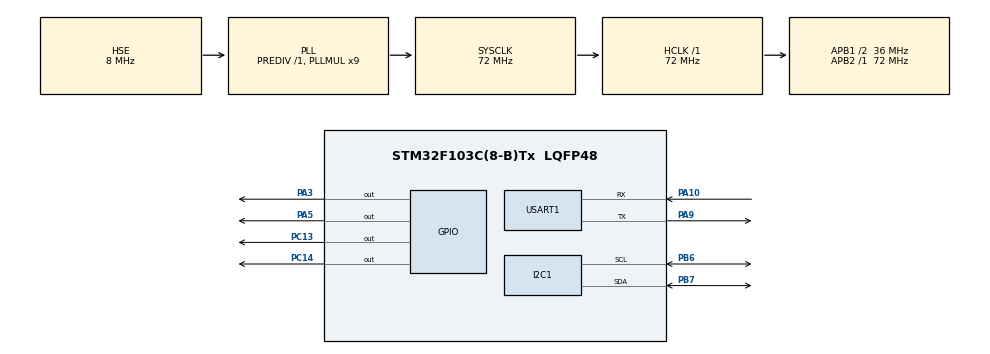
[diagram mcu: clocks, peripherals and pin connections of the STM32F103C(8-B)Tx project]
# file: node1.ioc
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Dma.Request0=USART1_RX
Dma.USART1_RX.0.Direction=DMA_PERIPH_TO_MEMORY
Dma.USART1_RX.0.Instance=DMA1_Channel5
Dma.USART1_RX.0.MemDataAlignment=DMA_MDATAALIGN_BYTE
Dma.USART1_RX.0.MemInc=DMA_MINC_ENABLE
Dma.USART1_RX.0.Mode=DMA_NORMAL
Dma.USART1_RX.0.PeriphDataAlignment=DMA_PDATAALIGN_BYTE
Dma.USART1_RX.0.PeriphInc=DMA_PINC_DISABLE
Dma.USART1_RX.0.Priority=DMA_PRIORITY_LOW
Mcu.Family=STM32F1
Mcu.Name=STM32F103C(8-B)Tx
Mcu.Package=LQFP48
NVIC.DMA1_Channel5_IRQn=true\:0\:0\:false\:false\:true\:false\:true\:true
NVIC.PriorityGroup=NVIC_PRIORITYGROUP_4
NVIC.USART1_IRQn=true\:0\:0\:false\:false\:true\:true\:true\:true
PA10.Mode=Asynchronous
PA10.Signal=USART1_RX
PA13.Mode=Serial_Wire
PA13.Signal=SYS_JTMS-SWDIO
PA14.Mode=Serial_Wire
PA14.Signal=SYS_JTCK-SWCLK
PA3.PinState=GPIO_PIN_SET
PA3.Signal=GPIO_Output
PA5.PinState=GPIO_PIN_SET
PA5.Signal=GPIO_Output
PA9.Mode=Asynchronous
PA9.Signal=USART1_TX
PB6.Mode=I2C
PB6.Signal=I2C1_SCL
PB7.Mode=I2C
PB7.Signal=I2C1_SDA
PC13-TAMPER-RTC.PinState=GPIO_PIN_SET
PC13-TAMPER-RTC.Signal=GPIO_Output
PC14-OSC32_IN.PinState=GPIO_PIN_SET
PC14-OSC32_IN.Signal=GPIO_Output
PD0-OSC_IN.Mode=HSE-External-Oscillator
PD0-OSC_IN.Signal=RCC_OSC_IN
PD1-OSC_OUT.Mode=HSE-External-Oscillator
PD1-OSC_OUT.Signal=RCC_OSC_OUT
ProjectManager.HeapSize=0x200
ProjectManager.StackSize=0x400
ProjectManager.TargetToolchain=STM32CubeIDE
RCC.AHBFreq_Value=72000000
RCC.APB1CLKDivider=RCC_HCLK_DIV2
RCC.APB1Freq_Value=36000000
RCC.APB1TimFreq_Value=72000000
RCC.APB2Freq_Value=72000000
RCC.APB2TimFreq_Value=72000000
RCC.HCLKFreq_Value=72000000
RCC.PLLMUL=RCC_PLL_MUL9
RCC.PLLSourceVirtual=RCC_PLLSOURCE_HSE
RCC.SYSCLKFreq_VALUE=72000000
RCC.SYSCLKSource=RCC_SYSCLKSOURCE_PLLCLK
RCC.USBFreq_Value=72000000
TIM4.Prescaler=71
USART1.VirtualMode=VM_ASYNC
VP_TIM4_VS_ClockSourceINT.Mode=Internal
board=custom

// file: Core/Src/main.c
/* USER CODE BEGIN Header */
/**
 ******************************************************************************
 * @file           : main.c
 * @brief          : Main program body
 ******************************************************************************
 * @attention
 *
 * Copyright (c) 2026 STMicroelectronics.
 * All rights reserved.
 *
 * This software is licensed under terms that can be found in the LICENSE file
 * in the root directory of this software component.
 * If no LICENSE file comes with this software, it is provided AS-IS.
 *
 ******************************************************************************
 */
/* USER CODE END Header */
#include "main.h"

/* USER CODE BEGIN Includes */
#include "stdio.h"
#include "string.h"
#include "stdbool.h"
#include "dht11.h"
#include "bh1750.h"
/* USER CODE END Includes */

/* USER CODE BEGIN PTD */
#define RX_BUF_SIZE 64
#define NODE_ID "NODE1"   // đổi NODE2 cho board còn lại

#define LED1_PORT GPIOA
#define LED1_PIN GPIO_PIN_3

#define LED2_PORT GPIOA
#define LED2_PIN GPIO_PIN_5

#define FAN1_PORT GPIOC
#define FAN1_PIN  GPIO_PIN_13

#define FAN2_PORT GPIOC
#define FAN2_PIN  GPIO_PIN_14

#define TEMP_ON  30.0
#define TEMP_OFF 26.0

uint8_t rx_buf[RX_BUF_SIZE];
uint8_t rx_char;

volatile uint16_t rx_len = 0;
volatile uint8_t rx_flag = 0;

BH1750_HandleTypeDef bh1, bh2;
DHT11_HandleTypeDef dht1, dht2;

float temp1, hum1, lux1;
float temp2, hum2, lux2;

/* USER CODE END PTD */

I2C_HandleTypeDef hi2c1;

TIM_HandleTypeDef htim4;

UART_HandleTypeDef huart1;
DMA_HandleTypeDef hdma_usart1_rx;

void SystemClock_Config(void);
static void MX_GPIO_Init(void);
static void MX_DMA_Init(void);
static void MX_USART1_UART_Init(void);
static void MX_I2C1_Init(void);
static void MX_TIM4_Init(void);
/* USER CODE BEGIN PFP */
void UART_Start_DMA(void);
void Send_Data(void);
void Process_Data(void);

void Send_Data(void) {
	char msg[100];

	// ================= ROOM 1 =================
	if (DHT11_Read(&dht1, &temp1, &hum1) != HAL_OK) {
		sprintf(msg, "%s:1:DHT_ERROR\r\n", NODE_ID);
		HAL_UART_Transmit(&huart1, (uint8_t*) msg, strlen(msg), 100);
	} else {
		sprintf(msg, "%s:1:TEMP:%.1f\r\n", NODE_ID, temp1);
		HAL_UART_Transmit(&huart1, (uint8_t*) msg, strlen(msg), 100);

		sprintf(msg, "%s:1:HUMID:%.1f\r\n", NODE_ID, hum1);
		HAL_UART_Transmit(&huart1, (uint8_t*) msg, strlen(msg), 100);
	}

	if (BH1750_ReadLux(&bh1, &lux1) != HAL_OK) {
		sprintf(msg, "%s:1:BH1750_ERROR\r\n", NODE_ID);
		HAL_UART_Transmit(&huart1, (uint8_t*) msg, strlen(msg), 100);
	} else {
		sprintf(msg, "%s:1:LUX:%.1f\r\n", NODE_ID, lux1);
		HAL_UART_Transmit(&huart1, (uint8_t*) msg, strlen(msg), 100);
	}

	// ================= ROOM 2 =================
	if (DHT11_Read(&dht2, &temp2, &hum2) != HAL_OK) {
		sprintf(msg, "%s:2:DHT_ERROR\r\n", NODE_ID);
		HAL_UART_Transmit(&huart1, (uint8_t*) msg, strlen(msg), 100);
	} else {
		sprintf(msg, "%s:2:TEMP:%.1f\r\n", NODE_ID, temp2);
		HAL_UART_Transmit(&huart1, (uint8_t*) msg, strlen(msg), 100);

		sprintf(msg, "%s:2:HUMID:%.1f\r\n", NODE_ID, hum2);
		HAL_UART_Transmit(&huart1, (uint8_t*) msg, strlen(msg), 100);
	}

	if (BH1750_ReadLux(&bh2, &lux2) != HAL_OK) {
		sprintf(msg, "%s:2:BH1750_ERROR\r\n", NODE_ID);
		HAL_UART_Transmit(&huart1, (uint8_t*) msg, strlen(msg), 100);
	} else {
		sprintf(msg, "%s:2:LUX:%.1f\r\n", NODE_ID, lux2);
		HAL_UART_Transmit(&huart1, (uint8_t*) msg, strlen(msg), 100);
	}
}

void Process_Data(void) {

	uint16_t n = rx_len;
	if (n >= RX_BUF_SIZE)
		n = RX_BUF_SIZE - 1;

	rx_buf[n] = '\0';

	char *saveptr_line;
	char *line = strtok_r((char*) rx_buf, "\r\n", &saveptr_line);

	while (line != NULL) {

		char buf[64];
		strncpy(buf, line, sizeof(buf) - 1);
		buf[sizeof(buf) - 1] = '\0';

		char *saveptr_token;

		char *type = strtok_r(buf, ":", &saveptr_token);

		// ===== CHECK FORMAT =====
		if (type && strcmp(type, "CMD") == 0) {

			char *id = strtok_r(NULL, ":", &saveptr_token);
			char *node = strtok_r(NULL, ":", &saveptr_token);
			char *group = strtok_r(NULL, ":", &saveptr_token);
			char *cmd = strtok_r(NULL, ":", &saveptr_token);
			char *value = strtok_r(NULL, ":", &saveptr_token);

			if (id && node && group && cmd && value) {

				// ===== HANDLE COMMAND =====
				if (strcmp(node, NODE_ID) == 0 || strcmp(node, "ALL") == 0) {

					if (strcmp(group, "1") == 0) {

						if (strcmp(cmd, "LED") == 0) {
							HAL_GPIO_WritePin(LED1_PORT, LED1_PIN,
									strcmp(value, "ON") == 0 ?
											GPIO_PIN_RESET : GPIO_PIN_SET);
						} else if (strcmp(cmd, "FAN") == 0) {
							HAL_GPIO_WritePin(FAN1_PORT, FAN1_PIN,
									strcmp(value, "ON") == 0 ?
											GPIO_PIN_RESET : GPIO_PIN_SET);
						}
					}

					else if (strcmp(group, "2") == 0) {

						if (strcmp(cmd, "LED") == 0) {
							HAL_GPIO_WritePin(LED2_PORT, LED2_PIN,
									strcmp(value, "ON") == 0 ?
											GPIO_PIN_RESET : GPIO_PIN_SET);
						} else if (strcmp(cmd, "FAN") == 0) {
							HAL_GPIO_WritePin(FAN2_PORT, FAN2_PIN,
									strcmp(value, "ON") == 0 ?
											GPIO_PIN_RESET : GPIO_PIN_SET);
						}
					}
				}

				// ===== SEND ACK =====
				char ack[32];
				sprintf(ack, "ACK:%s:OK\r\n", id);
				HAL_UART_Transmit(&huart1, (uint8_t*) ack, strlen(ack), 100);
			}
		}

		// ===== NEXT LINE =====
		line = strtok_r(NULL, "\r\n", &saveptr_line);
	}
}

/* USER CODE END PFP */

/* USER CODE BEGIN 0 */
void UART_Start_DMA(void) {
	memset(rx_buf, 0, RX_BUF_SIZE);

	HAL_UARTEx_ReceiveToIdle_DMA(&huart1, rx_buf, RX_BUF_SIZE);

	if (huart1.hdmarx) {
		__HAL_DMA_DISABLE_IT(huart1.hdmarx, DMA_IT_HT);
	}
}
/* USER CODE END 0 */

int main(void) {

	/* MCU Configuration--------------------------------------------------------*/

	/* Reset of all peripherals, Initializes the Flash interface and the Systick. */
	HAL_Init();

	/* Configure the system clock */
	SystemClock_Config();

	/* Initialize all configured peripherals */
	MX_GPIO_Init();
	MX_DMA_Init();
	MX_USART1_UART_Init();
	MX_I2C1_Init();
	MX_TIM4_Init();
	/* USER CODE BEGIN 2 */
	HAL_TIM_Base_Start(&htim4);

// init sensor
	BH1750_Init(&bh1, &hi2c1, BH1750_ADDR_LOW);
	DHT11_Init(&dht1, GPIOB, GPIO_PIN_14, &htim4);
	BH1750_Init(&bh2, &hi2c1, BH1750_ADDR_HIGH);
	DHT11_Init(&dht2, GPIOB, GPIO_PIN_15, &htim4);

// start UART DMA
	UART_Start_DMA();
	/* USER CODE END 2 */

	/* Infinite loop */
	/* USER CODE BEGIN WHILE */
	uint32_t last_time = 0;

	while (1) {
		// gửi mỗi 2s
		if (HAL_GetTick() - last_time > 2000) {
			last_time = HAL_GetTick();
			Send_Data();
		}

		// xử lý nhận từ CC2530
		if (rx_flag) {
			rx_flag = 0;
			Process_Data();
			UART_Start_DMA();
		}
		/* USER CODE END WHILE */

	}
}

void SystemClock_Config(void) {
	RCC_OscInitTypeDef RCC_OscInitStruct = { 0 };
	RCC_ClkInitTypeDef RCC_ClkInitStruct = { 0 };

	/** Initializes the RCC Oscillators according to the specified parameters
	 * in the RCC_OscInitTypeDef structure.
	 */
	RCC_OscInitStruct.OscillatorType = RCC_OSCILLATORTYPE_HSE;
	RCC_OscInitStruct.HSEState = RCC_HSE_ON;
	RCC_OscInitStruct.HSEPredivValue = RCC_HSE_PREDIV_DIV1;
	RCC_OscInitStruct.HSIState = RCC_HSI_ON;
	RCC_OscInitStruct.PLL.PLLState = RCC_PLL_ON;
	RCC_OscInitStruct.PLL.PLLSource = RCC_PLLSOURCE_HSE;
	RCC_OscInitStruct.PLL.PLLMUL = RCC_PLL_MUL9;
	if (HAL_RCC_OscConfig(&RCC_OscInitStruct) != HAL_OK) {
		Error_Handler();
	}

	/** Initializes the CPU, AHB and APB buses clocks
	 */
	RCC_ClkInitStruct.ClockType = RCC_CLOCKTYPE_HCLK | RCC_CLOCKTYPE_SYSCLK
			| RCC_CLOCKTYPE_PCLK1 | RCC_CLOCKTYPE_PCLK2;
	RCC_ClkInitStruct.SYSCLKSource = RCC_SYSCLKSOURCE_PLLCLK;
	RCC_ClkInitStruct.AHBCLKDivider = RCC_SYSCLK_DIV1;
	RCC_ClkInitStruct.APB1CLKDivider = RCC_HCLK_DIV2;
	RCC_ClkInitStruct.APB2CLKDivider = RCC_HCLK_DIV1;

	if (HAL_RCC_ClockConfig(&RCC_ClkInitStruct, FLASH_LATENCY_2) != HAL_OK) {
		Error_Handler();
	}
}

static void MX_I2C1_Init(void) {

	hi2c1.Instance = I2C1;
	hi2c1.Init.ClockSpeed = 100000;
	hi2c1.Init.DutyCycle = I2C_DUTYCYCLE_2;
	hi2c1.Init.OwnAddress1 = 0;
	hi2c1.Init.AddressingMode = I2C_ADDRESSINGMODE_7BIT;
	hi2c1.Init.DualAddressMode = I2C_DUALADDRESS_DISABLE;
	hi2c1.Init.OwnAddress2 = 0;
	hi2c1.Init.GeneralCallMode = I2C_GENERALCALL_DISABLE;
	hi2c1.Init.NoStretchMode = I2C_NOSTRETCH_DISABLE;
	if (HAL_I2C_Init(&hi2c1) != HAL_OK) {
		Error_Handler();
	}

}

static void MX_TIM4_Init(void) {

	TIM_ClockConfigTypeDef sClockSourceConfig = { 0 };
	TIM_MasterConfigTypeDef sMasterConfig = { 0 };

	htim4.Instance = TIM4;
	htim4.Init.Prescaler = 71;
	htim4.Init.CounterMode = TIM_COUNTERMODE_UP;
	htim4.Init.Period = 65535;
	htim4.Init.ClockDivision = TIM_CLOCKDIVISION_DIV1;
	htim4.Init.AutoReloadPreload = TIM_AUTORELOAD_PRELOAD_DISABLE;
	if (HAL_TIM_Base_Init(&htim4) != HAL_OK) {
		Error_Handler();
	}
	sClockSourceConfig.ClockSource = TIM_CLOCKSOURCE_INTERNAL;
	if (HAL_TIM_ConfigClockSource(&htim4, &sClockSourceConfig) != HAL_OK) {
		Error_Handler();
	}
	sMasterConfig.MasterOutputTrigger = TIM_TRGO_RESET;
	sMasterConfig.MasterSlaveMode = TIM_MASTERSLAVEMODE_DISABLE;
	if (HAL_TIMEx_MasterConfigSynchronization(&htim4, &sMasterConfig)
			!= HAL_OK) {
		Error_Handler();
	}

}

static void MX_USART1_UART_Init(void) {

	huart1.Instance = USART1;
	huart1.Init.BaudRate = 115200;
	huart1.Init.WordLength = UART_WORDLENGTH_8B;
	huart1.Init.StopBits = UART_STOPBITS_1;
	huart1.Init.Parity = UART_PARITY_NONE;
	huart1.Init.Mode = UART_MODE_TX_RX;
	huart1.Init.HwFlowCtl = UART_HWCONTROL_NONE;
	huart1.Init.OverSampling = UART_OVERSAMPLING_16;
	if (HAL_UART_Init(&huart1) != HAL_OK) {
		Error_Handler();
	}

}

static void MX_DMA_Init(void) {

	/* DMA controller clock enable */
	__HAL_RCC_DMA1_CLK_ENABLE();

	/* DMA interrupt init */
	/* DMA1_Channel5_IRQn interrupt configuration */
	HAL_NVIC_SetPriority(DMA1_Channel5_IRQn, 0, 0);
	HAL_NVIC_EnableIRQ(DMA1_Channel5_IRQn);

}

static void MX_GPIO_Init(void) {
	GPIO_InitTypeDef GPIO_InitStruct = { 0 };

	/* GPIO Ports Clock Enable */
	__HAL_RCC_GPIOC_CLK_ENABLE();
	__HAL_RCC_GPIOD_CLK_ENABLE();
	__HAL_RCC_GPIOA_CLK_ENABLE();
	__HAL_RCC_GPIOB_CLK_ENABLE();

	/*Configure GPIO pin Output Level */
	HAL_GPIO_WritePin(GPIOC, GPIO_PIN_13 | GPIO_PIN_14, GPIO_PIN_SET);

	/*Configure GPIO pin Output Level */
	HAL_GPIO_WritePin(GPIOA, GPIO_PIN_3 | GPIO_PIN_5, GPIO_PIN_SET);

	/*Configure GPIO pins : PC13 PC14 */
	GPIO_InitStruct.Pin = GPIO_PIN_13 | GPIO_PIN_14;
	GPIO_InitStruct.Mode = GPIO_MODE_OUTPUT_PP;
	GPIO_InitStruct.Pull = GPIO_NOPULL;
	GPIO_InitStruct.Speed = GPIO_SPEED_FREQ_LOW;
	HAL_GPIO_Init(GPIOC, &GPIO_InitStruct);

	/*Configure GPIO pins : PA3 PA5 */
	GPIO_InitStruct.Pin = GPIO_PIN_3 | GPIO_PIN_5;
	GPIO_InitStruct.Mode = GPIO_MODE_OUTPUT_PP;
	GPIO_InitStruct.Pull = GPIO_NOPULL;
	GPIO_InitStruct.Speed = GPIO_SPEED_FREQ_LOW;
	HAL_GPIO_Init(GPIOA, &GPIO_InitStruct);

}

/* USER CODE BEGIN 4 */
void HAL_UARTEx_RxEventCallback(UART_HandleTypeDef *huart, uint16_t Size) {
	if (huart->Instance == USART1) {
		if (Size > 2)   // ❗ QUAN TRỌNG (lọc nhiễu)
				{
			rx_len = Size;
			rx_flag = 1;
		} else {
			// nhận lại luôn, bỏ qua
			UART_Start_DMA();
		}
	}
}

/* USER CODE END 4 */

void Error_Handler(void) {
	__disable_irq();
	while (1) {
	}
}
